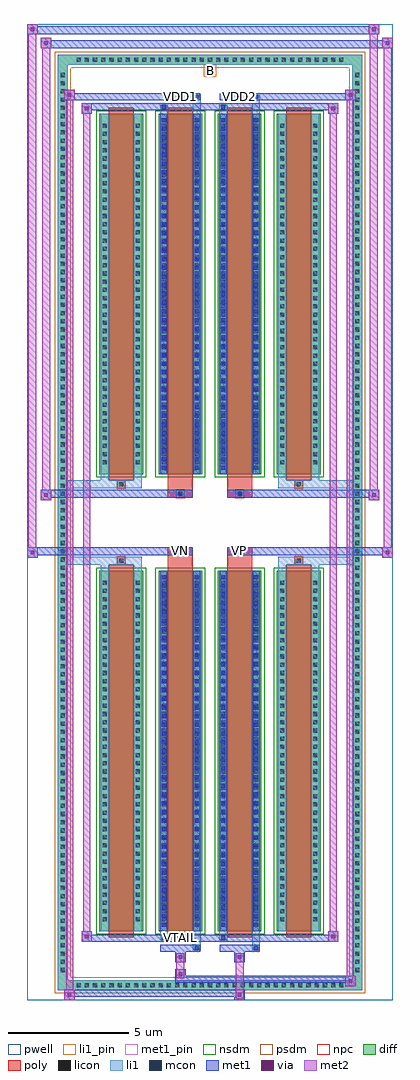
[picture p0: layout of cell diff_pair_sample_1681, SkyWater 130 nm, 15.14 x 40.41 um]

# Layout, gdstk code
import gdstk
lib = gdstk.Library(unit=1e-6, precision=5e-09)
def R(c, l, rs):  # rectangles x0, y0, x1, y1
    for r in rs: c.add(gdstk.rectangle(r[:2], r[2:], *l))
def A(c, l, x, y, w, h, nx, ny, dx, dy):  # array of equal rectangles
    R(c, l, [(x+i*dx, y+j*dy, x+i*dx+w, y+j*dy+h) for i in range(nx) for j in range(ny)])
def P(c, l, *ps):  # polygons
    for p in ps: c.add(gdstk.Polygon(p, *l))
pwell = (64, 44)
diff = (65, 20)
poly = (66, 20)
licon = (66, 44)
li1_pin = (67, 16)
li1 = (67, 20)
mcon = (67, 44)
met1_pin = (68, 16)
met1 = (68, 20)
via = (68, 44)
met2 = (69, 20)
nsdm = (93, 44)
psdm = (94, 20)
npc = (95, 20)

diff_pair_sample_1681 = lib.new_cell('diff_pair_sample_1681')
R(diff_pair_sample_1681, pwell, [(-7.57,-19.77,7.57,20.64), (-4.89,-17.96,-0.01,-0.82), (0.01,-17.96,4.89,-0.82), (-4.89,0.82,-0.01,17.96), (0.01,0.82,4.89,17.96)])
A(diff_pair_sample_1681, diff, -5.645, -19.37, 0.41, 0.41, 33, 2, 0.34, 38.33)
A(diff_pair_sample_1681, diff, -6.3, -18.735, 0.41, 0.41, 1, 110, 0, 0.34)
A(diff_pair_sample_1681, diff, 5.89, -18.735, 0.41, 0.41, 1, 110, 0, 0.34)
A(diff_pair_sample_1681, diff, -4.58, -16.915, 1.81, 14.91, 4, 2, 2.45, 18.92)
R(diff_pair_sample_1681, diff, [(-5.645,-19.37,5.645,-18.96), (-6.3,-18.735,-5.89,18.735), (5.89,-18.735,6.3,18.735), (-5.645,18.96,5.645,19.37)])
P(diff_pair_sample_1681, diff, [(6.3,19.37),(-6.3,19.37),(-6.3,-18.96),(-5.89,-18.96),(-5.89,18.96),(5.89,18.96),(5.89,-18.96),(-5.89,-18.96),(-6.3,-18.96),(-6.3,-19.37),(6.3,-19.37)])
A(diff_pair_sample_1681, poly, -4.19, -17.165, 1.03, 15.41, 4, 2, 2.45, 18.92)
R(diff_pair_sample_1681, poly, [(-3.84,-1.755,-3.51,-1.425), (-3.84,-1.755,-3.51,-1.425), (-1.74,-1.755,-0.71,-1.35), (0.71,-1.755,1.74,-1.35), (3.51,-1.755,3.84,-1.425), (3.51,-1.755,3.84,-1.425), (-1.74,-1.35,-0.71,-1.02), (-1.39,-1.35,-1.06,-1.02), (0.71,-1.35,1.74,-1.02), (1.06,-1.35,1.39,-1.02), (-1.74,1.02,-0.71,1.35), (-1.39,1.02,-1.06,1.35), (0.71,1.02,1.74,1.35), (1.06,1.02,1.39,1.35), (-1.74,1.35,-0.71,1.755), (0.71,1.35,1.74,1.755), (-3.84,1.425,-3.51,1.755), (-3.84,1.425,-3.51,1.755), (3.51,1.425,3.84,1.755), (3.51,1.425,3.84,1.755)])
A(diff_pair_sample_1681, licon, -5.525, -19.25, 0.17, 0.17, 33, 2, 0.34, 38.33)
A(diff_pair_sample_1681, licon, -6.18, -18.615, 0.17, 0.17, 1, 110, 0, 0.34)
A(diff_pair_sample_1681, licon, 6.01, -18.615, 0.17, 0.17, 1, 110, 0, 0.34)
A(diff_pair_sample_1681, licon, -4.44, -16.515, 0.17, 0.17, 1, 42, 0, 0.34)
A(diff_pair_sample_1681, licon, -3.08, -16.515, 0.17, 0.17, 1, 42, 0, 0.34)
A(diff_pair_sample_1681, licon, -1.99, -16.515, 0.17, 0.17, 1, 42, 0, 0.34)
A(diff_pair_sample_1681, licon, -0.63, -16.515, 0.17, 0.17, 1, 42, 0, 0.34)
A(diff_pair_sample_1681, licon, 0.46, -16.515, 0.17, 0.17, 1, 42, 0, 0.34)
A(diff_pair_sample_1681, licon, 1.82, -16.515, 0.17, 0.17, 1, 42, 0, 0.34)
A(diff_pair_sample_1681, licon, 2.91, -16.515, 0.17, 0.17, 1, 42, 0, 0.34)
A(diff_pair_sample_1681, licon, 4.27, -16.515, 0.17, 0.17, 1, 42, 0, 0.34)
A(diff_pair_sample_1681, licon, -4.44, 2.405, 0.17, 0.17, 1, 42, 0, 0.34)
A(diff_pair_sample_1681, licon, -3.08, 2.405, 0.17, 0.17, 1, 42, 0, 0.34)
A(diff_pair_sample_1681, licon, -1.99, 2.405, 0.17, 0.17, 1, 42, 0, 0.34)
A(diff_pair_sample_1681, licon, -0.63, 2.405, 0.17, 0.17, 1, 42, 0, 0.34)
A(diff_pair_sample_1681, licon, 0.46, 2.405, 0.17, 0.17, 1, 42, 0, 0.34)
A(diff_pair_sample_1681, licon, 1.82, 2.405, 0.17, 0.17, 1, 42, 0, 0.34)
A(diff_pair_sample_1681, licon, 2.91, 2.405, 0.17, 0.17, 1, 42, 0, 0.34)
A(diff_pair_sample_1681, licon, 4.27, 2.405, 0.17, 0.17, 1, 42, 0, 0.34)
R(diff_pair_sample_1681, licon, [(-3.76,-1.675,-3.59,-1.505), (3.59,-1.675,3.76,-1.505), (-1.31,-1.27,-1.14,-1.1), (1.14,-1.27,1.31,-1.1), (-1.31,1.1,-1.14,1.27), (1.14,1.1,1.31,1.27), (-3.76,1.505,-3.59,1.675), (3.59,1.505,3.76,1.675)])
R(diff_pair_sample_1681, li1_pin, [(-0.25,18.46,0.25,18.96)])
A(diff_pair_sample_1681, li1, -5.605, -19.33, 0.33, 0.33, 33, 2, 0.34, 38.33)
A(diff_pair_sample_1681, li1, -6.26, -18.695, 0.33, 0.33, 1, 110, 0, 0.34)
A(diff_pair_sample_1681, li1, 5.93, -18.695, 0.33, 0.33, 1, 110, 0, 0.34)
A(diff_pair_sample_1681, li1, -1.99, -16.745, 0.17, 0.17, 1, 41, 0, 0.36)
A(diff_pair_sample_1681, li1, -0.63, -16.745, 0.17, 0.17, 1, 41, 0, 0.36)
A(diff_pair_sample_1681, li1, 0.46, -16.745, 0.17, 0.17, 1, 41, 0, 0.36)
A(diff_pair_sample_1681, li1, 1.82, -16.745, 0.17, 0.17, 1, 41, 0, 0.36)
A(diff_pair_sample_1681, li1, -4.52, -16.595, 0.33, 0.33, 1, 42, 0, 0.34)
A(diff_pair_sample_1681, li1, -3.16, -16.595, 0.33, 0.33, 1, 42, 0, 0.34)
A(diff_pair_sample_1681, li1, -2.07, -16.595, 0.33, 0.33, 1, 42, 0, 0.34)
A(diff_pair_sample_1681, li1, -0.71, -16.595, 0.33, 0.33, 1, 42, 0, 0.34)
A(diff_pair_sample_1681, li1, 0.38, -16.595, 0.33, 0.33, 1, 42, 0, 0.34)
A(diff_pair_sample_1681, li1, 1.74, -16.595, 0.33, 0.33, 1, 42, 0, 0.34)
A(diff_pair_sample_1681, li1, 2.83, -16.595, 0.33, 0.33, 1, 42, 0, 0.34)
A(diff_pair_sample_1681, li1, 4.19, -16.595, 0.33, 0.33, 1, 42, 0, 0.34)
A(diff_pair_sample_1681, li1, -1.99, 2.175, 0.17, 0.17, 1, 41, 0, 0.36)
A(diff_pair_sample_1681, li1, -0.63, 2.175, 0.17, 0.17, 1, 41, 0, 0.36)
A(diff_pair_sample_1681, li1, 0.46, 2.175, 0.17, 0.17, 1, 41, 0, 0.36)
A(diff_pair_sample_1681, li1, 1.82, 2.175, 0.17, 0.17, 1, 41, 0, 0.36)
A(diff_pair_sample_1681, li1, -4.52, 2.325, 0.33, 0.33, 1, 42, 0, 0.34)
A(diff_pair_sample_1681, li1, -3.16, 2.325, 0.33, 0.33, 1, 42, 0, 0.34)
A(diff_pair_sample_1681, li1, -2.07, 2.325, 0.33, 0.33, 1, 42, 0, 0.34)
A(diff_pair_sample_1681, li1, -0.71, 2.325, 0.33, 0.33, 1, 42, 0, 0.34)
A(diff_pair_sample_1681, li1, 0.38, 2.325, 0.33, 0.33, 1, 42, 0, 0.34)
A(diff_pair_sample_1681, li1, 1.74, 2.325, 0.33, 0.33, 1, 42, 0, 0.34)
A(diff_pair_sample_1681, li1, 2.83, 2.325, 0.33, 0.33, 1, 42, 0, 0.34)
A(diff_pair_sample_1681, li1, 4.19, 2.325, 0.33, 0.33, 1, 42, 0, 0.34)
R(diff_pair_sample_1681, li1, [(-6.3,-19.37,-5.89,-18.96), (-6.3,-19.37,-5.89,-18.96), (-5.89,-19.37,5.89,-18.96), (5.89,-19.37,6.3,-18.96), (5.89,-19.37,6.3,-18.96), (-6.3,-18.96,-5.89,18.96), (5.89,-18.96,6.3,18.96), (-0.71,-17.72,-0.38,-16.915), (-0.63,-17.72,-0.46,-17.55), (1.74,-17.72,2.07,-16.915), (1.82,-17.72,1.99,-17.55), (-2.07,-17.29,-1.74,-16.915), (-1.99,-17.29,-1.82,-17.12), (0.38,-17.29,0.71,-16.915), (0.46,-17.29,0.63,-17.12), (-4.52,-16.915,-4.19,-2.005), (-3.16,-16.915,-2.83,-2.005), (-2.07,-16.915,-1.74,-2.005), (-0.71,-16.915,-0.38,-2.005), (0.38,-16.915,0.71,-2.005), (1.74,-16.915,2.07,-2.005), (2.83,-16.915,3.16,-2.005), (4.19,-16.915,4.52,-2.005), (-1.99,-16.745,-1.82,-2.175), (-0.63,-16.745,-0.46,-2.175), (0.46,-16.745,0.63,-2.175), (1.82,-16.745,1.99,-2.175), (-4.52,-2.005,-4.19,-1.425), (-3.16,-2.005,-2.83,-1.425), (2.83,-2.005,3.16,-1.425), (4.19,-2.005,4.52,-1.425), (-6.3,-1.755,-3.84,-1.425), (-4.52,-1.755,-3.84,-1.425), (-3.84,-1.755,-3.51,-1.425), (-3.51,-1.755,-2.83,-1.425), (2.83,-1.755,3.51,-1.425), (3.51,-1.755,3.84,-1.425), (3.51,-1.755,6.3,-1.425), (3.84,-1.755,4.52,-1.425), (-1.39,-1.35,-1.06,-1.02), (1.06,-1.35,1.39,-1.02), (-1.39,1.02,-1.06,1.35), (1.06,1.02,1.39,1.35), (-6.3,1.425,-3.84,1.755), (-4.52,1.425,-3.84,1.755), (-4.52,1.425,-4.19,2.005), (-3.84,1.425,-3.51,1.755), (-3.51,1.425,-2.83,1.755), (-3.16,1.425,-2.83,2.005), (2.83,1.425,3.51,1.755), (2.83,1.425,3.16,2.005), (3.51,1.425,3.84,1.755), (3.51,1.425,6.3,1.755), (3.84,1.425,4.52,1.755), (4.19,1.425,4.52,2.005), (-4.52,2.005,-4.19,16.915), (-3.16,2.005,-2.83,16.915), (-2.07,2.005,-1.74,16.915), (-0.71,2.005,-0.38,16.915), (0.38,2.005,0.71,16.915), (1.74,2.005,2.07,16.915), (2.83,2.005,3.16,16.915), (4.19,2.005,4.52,16.915), (-1.99,2.175,-1.82,16.745), (-0.63,2.175,-0.46,16.745), (0.46,2.175,0.63,16.745), (1.82,2.175,1.99,16.745), (-2.07,16.915,-1.74,17.29), (-0.71,16.915,-0.38,17.72), (0.38,16.915,0.71,17.29), (1.74,16.915,2.07,17.72), (-1.99,17.12,-1.82,17.29), (0.46,17.12,0.63,17.29), (-0.63,17.55,-0.46,17.72), (1.82,17.55,1.99,17.72), (-6.3,18.96,-5.89,19.37), (-6.3,18.96,-5.89,19.37), (-5.89,18.96,5.89,19.37), (5.89,18.96,6.3,19.37), (5.89,18.96,6.3,19.37)])
A(diff_pair_sample_1681, mcon, -1.99, -16.745, 0.17, 0.17, 1, 41, 0, 0.36)
A(diff_pair_sample_1681, mcon, -0.63, -16.745, 0.17, 0.17, 1, 41, 0, 0.36)
A(diff_pair_sample_1681, mcon, 0.46, -16.745, 0.17, 0.17, 1, 41, 0, 0.36)
A(diff_pair_sample_1681, mcon, 1.82, -16.745, 0.17, 0.17, 1, 41, 0, 0.36)
A(diff_pair_sample_1681, mcon, -1.99, 2.175, 0.17, 0.17, 1, 41, 0, 0.36)
A(diff_pair_sample_1681, mcon, -0.63, 2.175, 0.17, 0.17, 1, 41, 0, 0.36)
A(diff_pair_sample_1681, mcon, 0.46, 2.175, 0.17, 0.17, 1, 41, 0, 0.36)
A(diff_pair_sample_1681, mcon, 1.82, 2.175, 0.17, 0.17, 1, 41, 0, 0.36)
R(diff_pair_sample_1681, mcon, [(-0.63,-17.72,-0.46,-17.55), (1.82,-17.72,1.99,-17.55), (-1.99,-17.29,-1.82,-17.12), (0.46,-17.29,0.63,-17.12), (-1.31,-1.27,-1.14,-1.1), (1.14,-1.27,1.31,-1.1), (-1.31,1.1,-1.14,1.27), (1.14,1.1,1.31,1.27), (-1.99,17.12,-1.82,17.29), (0.46,17.12,0.63,17.29), (-0.63,17.55,-0.46,17.72), (1.82,17.55,1.99,17.72)])
R(diff_pair_sample_1681, met1_pin, [(-1.36,-17.33,-1.09,-17.06), (-1.36,-1.29,-1.09,-1.02), (1.09,-1.29,1.36,-1.02), (-1.36,17.51,-1.09,17.78), (1.09,17.51,1.36,17.78)])
A(diff_pair_sample_1681, met1, -2.05, -16.805, 0.29, 0.29, 1, 41, 0, 0.36)
A(diff_pair_sample_1681, met1, -0.69, -16.805, 0.29, 0.29, 1, 41, 0, 0.36)
A(diff_pair_sample_1681, met1, 0.4, -16.805, 0.29, 0.29, 1, 41, 0, 0.36)
A(diff_pair_sample_1681, met1, 1.76, -16.805, 0.29, 0.29, 1, 41, 0, 0.36)
A(diff_pair_sample_1681, met1, -2.05, 2.115, 0.29, 0.29, 1, 41, 0, 0.36)
A(diff_pair_sample_1681, met1, -0.69, 2.115, 0.29, 0.29, 1, 41, 0, 0.36)
A(diff_pair_sample_1681, met1, 0.4, 2.115, 0.29, 0.29, 1, 41, 0, 0.36)
A(diff_pair_sample_1681, met1, 1.76, 2.115, 0.29, 0.29, 1, 41, 0, 0.36)
R(diff_pair_sample_1681, met1, [(-6.03,-19.77,-5.6,-19.34), (1.01,-19.77,1.44,-19.34), (-6.03,-19.63,1.44,-19.34), (5.6,-19.2,6.03,-18.77), (-1.44,-19.06,6.03,-18.77), (-1.44,-18.92,-1.01,-18.49), (-1.44,-18.21,-1.01,-17.78), (1.01,-18.21,1.44,-17.78), (-2.05,-17.78,-0.4,-17.49), (-0.69,-17.78,-0.4,-17.49), (0.4,-17.78,2.05,-17.49), (1.76,-17.78,2.05,-17.49), (-5.32,-17.35,-4.89,-16.92), (-5.32,-17.35,-2.05,-17.06), (-2.05,-17.35,-1.76,-17.06), (-2.05,-17.35,-0.4,-17.06), (-0.4,-17.35,0.4,-17.06), (0.4,-17.35,0.69,-17.06), (0.4,-17.35,2.05,-17.06), (2.05,-17.35,5.32,-17.06), (4.89,-17.35,5.32,-16.92), (-2.05,-16.915,-1.76,-2.005), (-0.69,-16.915,-0.4,-2.005), (0.4,-16.915,0.69,-2.005), (1.76,-16.915,2.05,-2.005), (-7.57,-1.45,-7.14,-1.02), (7.14,-1.45,7.57,-1.02), (-7.57,-1.35,-0.71,-1.02), (-1.74,-1.35,-0.71,-1.02), (0.71,-1.35,1.74,-1.02), (0.71,-1.35,7.57,-1.02), (-1.37,-1.33,-1.08,-1.04), (1.08,-1.33,1.37,-1.04), (-7,0.92,-6.57,1.35), (6.57,0.92,7,1.35), (-7,1.02,-1.74,1.35), (-1.74,1.02,-0.71,1.35), (0.71,1.02,1.74,1.35), (1.74,1.02,7,1.35), (-1.37,1.04,-1.08,1.33), (1.08,1.04,1.37,1.33), (-2.05,2.005,-1.76,16.915), (-0.69,2.005,-0.4,16.915), (0.4,2.005,0.69,16.915), (1.76,2.005,2.05,16.915), (-5.32,16.92,-4.89,17.35), (4.89,16.92,5.32,17.35), (-5.32,17.06,-2.05,17.35), (-2.05,17.06,-1.76,17.35), (-2.05,17.06,-0.4,17.35), (-0.4,17.06,0.4,17.35), (0.4,17.06,0.69,17.35), (0.4,17.06,2.05,17.35), (2.05,17.06,5.32,17.35), (-6.03,17.49,-5.6,17.92), (-6.03,17.49,-2.05,17.78), (-2.05,17.49,-0.4,17.78), (-0.69,17.49,-0.4,17.78), (0.4,17.49,2.05,17.78), (1.76,17.49,2.05,17.78), (2.05,17.49,6.03,17.78), (5.6,17.49,6.03,17.92), (-7,19.64,-6.57,20.07), (-7,19.64,-4.89,19.97), (-4.89,19.64,4.89,19.97), (4.89,19.64,7.57,19.97), (7.14,19.64,7.57,20.07), (-7.57,20.21,-7.14,20.64), (-7.57,20.21,-4.89,20.54), (-4.89,20.21,4.89,20.54), (4.89,20.21,7,20.54), (6.57,20.21,7,20.64)])
R(diff_pair_sample_1681, via, [(-5.89,-19.63,-5.74,-19.48), (1.15,-19.63,1.3,-19.48), (5.74,-19.06,5.89,-18.91), (-1.3,-18.78,-1.15,-18.63), (-1.3,-18.07,-1.15,-17.92), (1.15,-18.07,1.3,-17.92), (-5.18,-17.21,-5.03,-17.06), (5.03,-17.21,5.18,-17.06), (-7.43,-1.31,-7.28,-1.16), (7.28,-1.31,7.43,-1.16), (-6.86,1.06,-6.71,1.21), (6.71,1.06,6.86,1.21), (-5.18,17.06,-5.03,17.21), (5.03,17.06,5.18,17.21), (-5.89,17.63,-5.74,17.78), (5.74,17.63,5.89,17.78), (-6.86,19.78,-6.71,19.93), (7.28,19.78,7.43,19.93), (-7.43,20.35,-7.28,20.5), (6.71,20.35,6.86,20.5)])
R(diff_pair_sample_1681, met2, [(-6.03,-19.77,-5.6,-19.34), (-5.96,-19.77,-5.67,17.92), (-5.67,-19.77,-5.6,-19.34), (-5.98,-19.72,-5.65,-19.39), (1.06,-19.72,1.39,-19.39), (1.06,-19.39,1.39,-18.16), (5.6,-19.2,6.03,-18.77), (5.67,-19.2,5.96,17.92), (5.96,-19.2,6.03,-18.77), (5.65,-19.15,5.98,-18.82), (-1.39,-18.87,-1.06,-18.54), (-1.39,-18.54,-1.06,-18.16), (-1.39,-18.16,-1.06,-17.83), (1.06,-18.16,1.39,-17.83), (-5.32,-17.35,-4.89,-16.92), (-5.25,-17.35,-4.96,17.35), (-4.96,-17.35,-4.89,-16.92), (4.89,-17.35,5.32,-16.92), (4.96,-17.35,5.25,17.35), (5.25,-17.35,5.32,-16.92), (-5.27,-17.3,-4.94,-16.97), (4.94,-17.3,5.27,-16.97), (-7.57,-1.45,-7.14,-1.02), (-7.52,-1.45,-7.19,20.64), (-7.19,-1.45,-7.14,-1.02), (7.14,-1.45,7.57,-1.02), (7.19,-1.45,7.52,20.07), (7.52,-1.45,7.57,-1.02), (-7.52,-1.4,-7.19,-1.07), (7.19,-1.4,7.52,-1.07), (-7,0.92,-6.57,1.35), (-6.95,0.92,-6.62,20.07), (-6.62,0.92,-6.57,1.35), (6.57,0.92,7,1.35), (6.62,0.92,6.95,20.64), (6.95,0.92,7,1.35), (-6.95,0.97,-6.62,1.3), (6.62,0.97,6.95,1.3), (-5.32,16.92,-4.89,17.35), (-4.96,16.92,-4.89,17.35), (4.89,16.92,5.32,17.35), (5.25,16.92,5.32,17.35), (-5.27,16.97,-4.94,17.3), (4.94,16.97,5.27,17.3), (-6.03,17.49,-5.6,17.92), (-5.67,17.49,-5.6,17.92), (5.6,17.49,6.03,17.92), (5.96,17.49,6.03,17.92), (-5.98,17.54,-5.65,17.87), (5.65,17.54,5.98,17.87), (-7,19.64,-6.57,20.07), (-6.62,19.64,-6.57,20.07), (7.14,19.64,7.57,20.07), (7.52,19.64,7.57,20.07), (-6.95,19.69,-6.62,20.02), (7.19,19.69,7.52,20.02), (-7.57,20.21,-7.14,20.64), (-7.19,20.21,-7.14,20.64), (6.57,20.21,7,20.64), (6.95,20.21,7,20.64), (-7.52,20.26,-7.19,20.59), (6.62,20.26,6.95,20.59)])
A(diff_pair_sample_1681, nsdm, -4.71, -17.045, 2.07, 15.17, 4, 2, 2.45, 18.92)
P(diff_pair_sample_1681, psdm, [(6.43,19.5),(-6.43,19.5),(-6.43,-18.83),(-5.76,-18.83),(-5.76,18.83),(5.76,18.83),(5.76,-18.83),(-5.76,-18.83),(-6.43,-18.83),(-6.43,-19.5),(6.43,-19.5)])
R(diff_pair_sample_1681, npc, [(-3.86,-1.775,-3.49,-1.405), (3.49,-1.775,3.86,-1.405), (-1.41,-1.37,-1.04,-1), (1.04,-1.37,1.41,-1), (-1.41,1,-1.04,1.37), (1.04,1,1.41,1.37), (-3.86,1.405,-3.49,1.775), (3.49,1.405,3.86,1.775)])
diff_pair_sample_1681.add(gdstk.Label('VTAIL', (-1.225,-17.195), layer=68, texttype=5))
diff_pair_sample_1681.add(gdstk.Label('VN', (-1.225,-1.155), layer=68, texttype=5))
diff_pair_sample_1681.add(gdstk.Label('VP', (1.225,-1.155), layer=68, texttype=5))
diff_pair_sample_1681.add(gdstk.Label('B', (0,18.71), layer=67, texttype=5))
diff_pair_sample_1681.add(gdstk.Label('VDD2', (1.225,17.645), layer=68, texttype=5))
diff_pair_sample_1681.add(gdstk.Label('VDD1', (-1.225,17.645), layer=68, texttype=5))

lib.write_gds('diff_pair_sample_1681.gds')
